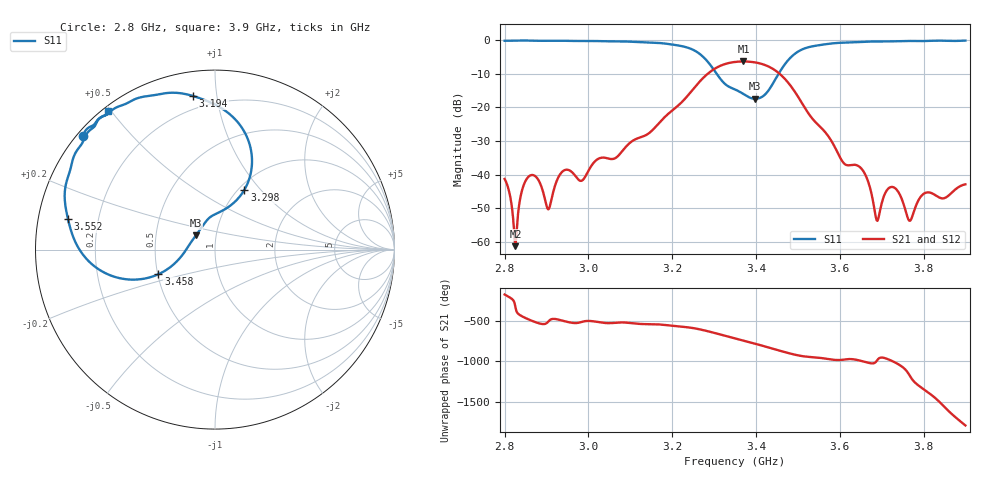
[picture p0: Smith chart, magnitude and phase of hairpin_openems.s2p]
! kicad2openems openEMS FDTD (hairpin)
! ports: 1=P1, 2=P2
# Hz S RI R 50
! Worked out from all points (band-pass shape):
!   551 points, 2.8 GHz to 3.9 GHz, reference 50 ohm
!   highest |S21| = -6.41 dB at 3.37 GHz (marker M1); lowest = -61.2 dB at 2.826 GHz (marker M2)
!   |S21| within 3 dB of the highest: 3.291 GHz to 3.45 GHz (158.5 MHz wide, 4.7 % of centre)
!   lowest |S11| = -17.5 dB at 3.398 GHz (marker M3), VSWR 1.31, Z = 39.9 + j6.45 ohm
!   |S11| at or under -10 dB: 3.306 GHz to 3.454 GHz (148.5 MHz wide, 4.39 % of centre)
!   |S22| runs from - to - dB; largest |S21 - S12| = 0
!   S11 on the Smith chart (normalised r, x): 2.8 GHz: 0.02, +0.37; 3.194 GHz: 0.13, +0.86; 3.298 GHz: 1.06, +0.82; 3.458 GHz: 0.50, -0.16; 3.552 GHz: 0.09, +0.10; 3.9 GHz: 0.01, +0.49
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2.8e9  -0.7349 0.6335  -0.00861 -0.000452  -0.00861 -0.000452  0 0
2.826e9  -0.7281 0.6504  0.000794 0.000345  0.000794 0.000345  0 0
2.84e9  -0.7189 0.6667  0.000817 -0.00527  0.000817 -0.00527  0 0
2.858e9  -0.6989 0.6827  -0.0055 -0.00764  -0.0055 -0.00764  0 0
2.904e9  -0.6653 0.7084  -0.00269 -0.00142  -0.00269 -0.00142  0 0
2.938e9  -0.6292 0.7398  -0.00838 -0.00726  -0.00838 -0.00726  0 0
2.984e9  -0.5838 0.7682  -0.00739 -0.00334  -0.00739 -0.00334  0 0
3.168e9  -0.2197 0.8737  -0.0574 0.00574  -0.0574 0.00574  0 0
3.194e9  -0.1213 0.8554  -0.0786 0.0273  -0.0786 0.0273  0 0
3.298e9  0.1638 0.3332  0.1055 0.3455  0.1055 0.3455  0 0
3.35e9  -0.0257 0.1818  0.4702 0.012  0.4702 0.012  0 0
3.37e9  -0.0585 0.1459  0.4306 -0.2072  0.4306 -0.2072  0 0
3.398e9  -0.1073 0.0794  0.2015 -0.4169  0.2015 -0.4169  0 0
3.458e9  -0.3155 -0.1373  -0.2723 -0.1436  -0.2723 -0.1436  0 0
3.534e9  -0.796 0.0866  -0.044 0.0525  -0.044 0.0525  0 0
3.552e9  -0.8192 0.1704  -0.0272 0.0444  -0.0272 0.0444  0 0
3.656e9  -0.7956 0.4905  0.00263 0.011  0.00263 0.011  0 0
3.688e9  -0.7664 0.5563  0.000314 0.00208  0.000314 0.00208  0 0
3.718e9  -0.7385 0.5957  -0.000947 0.00628  -0.000947 0.00628  0 0
3.768e9  -0.6963 0.6657  -0.000567 -0.00198  -0.000567 -0.00198  0 0
3.802e9  -0.6674 0.6918  0.000221 0.00526  0.000221 0.00526  0 0
3.9e9  -0.5945 0.7746  0.00712 0.000785  0.00712 0.000785  0 0
